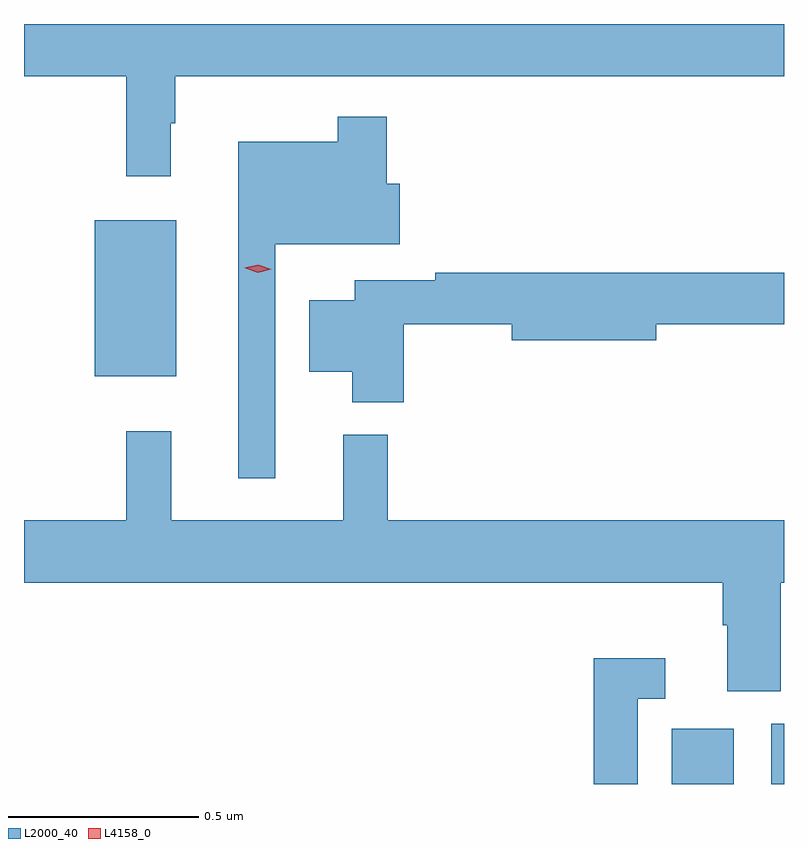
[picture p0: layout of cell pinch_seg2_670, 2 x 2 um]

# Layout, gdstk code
import gdstk
lib = gdstk.Library(unit=1e-6, precision=1e-09)
def R(c, l, rs):  # rectangles x0, y0, x1, y1
    for r in rs: c.add(gdstk.rectangle(r[:2], r[2:], *l))
def P(c, l, *ps):  # polygons
    for p in ps: c.add(gdstk.Polygon(p, *l))
L2000_40 = (2000, 40)
L4158_0 = (4158, 0)

pinch_seg2_670 = lib.new_cell('pinch_seg2_670')
R(pinch_seg2_670, L2000_40, [(1045.994,592.494,1046.158,592.639), (1046.256,592.494,1046.29,592.653), (1044.476,593.567,1044.691,593.977)])
P(pinch_seg2_670, L2000_40, [(1044.676,594.233),(1044.688,594.233),(1044.688,594.356),(1046.29,594.356),(1046.29,594.494),(1044.29,594.494),(1044.29,594.356),(1044.559,594.356),(1044.559,594.093),(1044.676,594.093)],
  [(1044.951,593.915),(1045.279,593.915),(1045.279,594.073),(1045.244,594.073),(1045.244,594.25),(1045.116,594.25),(1045.116,594.184),(1044.854,594.184),(1044.854,593.298),(1044.951,593.298)],
  [(1045.289,593.704),(1045.574,593.704),(1045.574,593.662),(1045.954,593.662),(1045.954,593.704),(1046.29,593.704),(1046.29,593.84),(1045.372,593.84),(1045.372,593.82),(1045.16,593.82),(1045.16,593.767),(1045.04,593.767),(1045.04,593.579),(1045.154,593.579),(1045.154,593.498),(1045.289,593.498)],
  [(1046.281,593.024),(1046.29,593.024),(1046.29,593.188),(1045.247,593.188),(1045.247,593.413),(1045.13,593.413),(1045.13,593.188),(1044.677,593.188),(1044.677,593.422),(1044.559,593.422),(1044.559,593.188),(1044.29,593.188),(1044.29,593.024),(1046.129,593.024),(1046.129,592.912),(1046.141,592.912),(1046.141,592.738),(1046.281,592.738)],
  [(1045.905,592.719),(1045.978,592.719),(1045.978,592.825),(1045.789,592.825),(1045.789,592.494),(1045.905,592.494)])
P(pinch_seg2_670, L4158_0, [(1044.905,593.84),(1044.87,593.852),(1044.869,593.852),(1044.87,593.852),(1044.906,593.86),(1044.941,593.848),(1044.941,593.848),(1044.941,593.848)])

lib.write_gds('pinch_seg2_670.gds')
